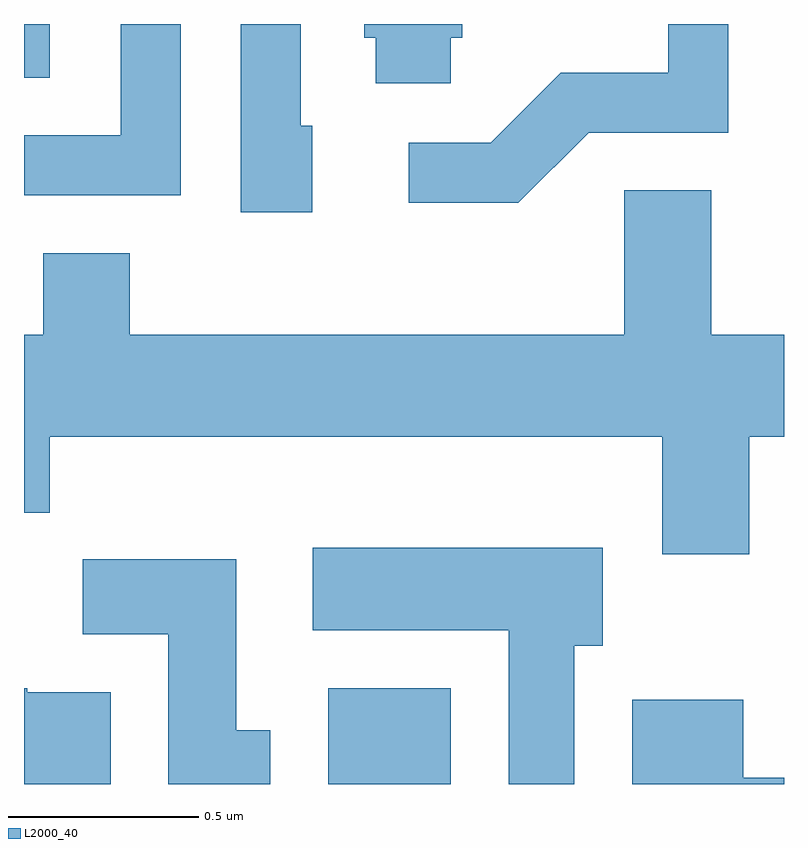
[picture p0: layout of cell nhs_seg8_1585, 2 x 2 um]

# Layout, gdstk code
import gdstk
lib = gdstk.Library(unit=1e-6, precision=1e-09)
def R(c, l, rs):  # rectangles x0, y0, x1, y1
    for r in rs: c.add(gdstk.rectangle(r[:2], r[2:], *l))
def P(c, l, *ps):  # polygons
    for p in ps: c.add(gdstk.Polygon(p, *l))
L2000_40 = (2000, 40)

nhs_seg8_1585 = lib.new_cell('nhs_seg8_1585')
R(nhs_seg8_1585, L2000_40, [(197.411,1884.342,197.734,1884.594), (196.611,1886.201,196.679,1886.342)])
P(nhs_seg8_1585, L2000_40, [(197.369,1886.074),(197.339,1886.074),(197.339,1886.342),(197.181,1886.342),(197.181,1885.846),(197.369,1885.846)],
  [(198.097,1886.056),(198.464,1886.056),(198.464,1886.342),(198.306,1886.342),(198.306,1886.214),(198.024,1886.214),(197.839,1886.029),(197.623,1886.029),(197.623,1885.871),(197.912,1885.871)],
  [(197.734,1886.306),(197.764,1886.306),(197.764,1886.342),(197.506,1886.342),(197.506,1886.306),(197.536,1886.306),(197.536,1886.186),(197.734,1886.186)],
  [(197.024,1886.342),(196.866,1886.342),(196.866,1886.049),(196.611,1886.049),(196.611,1885.891),(197.024,1885.891)],
  [(198.519,1885.256),(198.611,1885.256),(198.611,1885.524),(198.419,1885.524),(198.419,1885.904),(198.191,1885.904),(198.191,1885.524),(196.889,1885.524),(196.889,1885.739),(196.661,1885.739),(196.661,1885.524),(196.611,1885.524),(196.611,1885.056),(196.679,1885.056),(196.679,1885.256),(198.291,1885.256),(198.291,1884.946),(198.519,1884.946)],
  [(198.059,1884.706),(198.134,1884.706),(198.134,1884.964),(197.371,1884.964),(197.371,1884.746),(197.886,1884.746),(197.886,1884.342),(198.059,1884.342)],
  [(197.259,1884.484),(197.169,1884.484),(197.169,1884.934),(196.766,1884.934),(196.766,1884.736),(196.991,1884.736),(196.991,1884.342),(197.259,1884.342)],
  [(196.839,1884.584),(196.62,1884.584),(196.62,1884.594),(196.611,1884.594),(196.611,1884.342),(196.839,1884.342)],
  [(198.611,1884.359),(198.504,1884.359),(198.504,1884.564),(198.211,1884.564),(198.211,1884.342),(198.611,1884.342)])

lib.write_gds('nhs_seg8_1585.gds')
